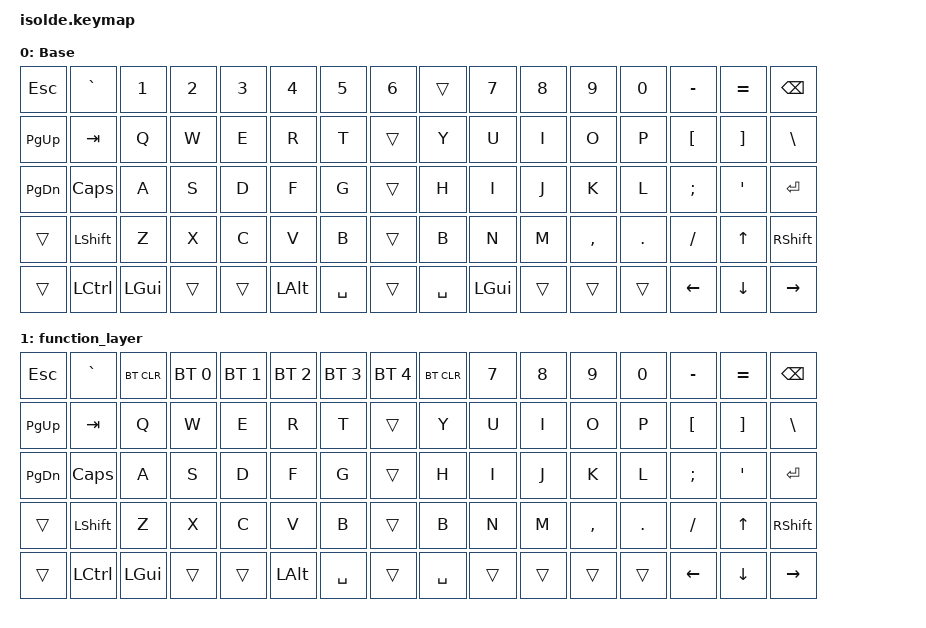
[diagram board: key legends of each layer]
// This file was generated from a template. Edit it to match your keyboard.
// See https://zmk.dev/docs/development/hardware-integration/new-shield for more instructions.

#include <behaviors.dtsi>
#include <dt-bindings/zmk/keys.h>
#include <dt-bindings/zmk/bt.h>

/ {
    // Define a default keymap here.
    // See https://zmk.dev/docs/development/hardware-integration/new-shield#default-keymap.
    keymap keymap {
                compatible = "zmk,keymap";

                default_layer {
// -----------------------------------------------------------------------------------------
// |  ECS |  ~  |  1  |  2  |  3  |  4  |  5  |  6  |        7  |  8  |  9  |  0  |  -  |  +  | BSPC | 
// | PG_UP| TAB |  Q  |  W  |  E  |  R  |  T  |     |  Y  |  U  |  I  |  O  |  P  |  [  |  ]  |   \  |
// | PG_DW| CAP |  A  |  S  |  D  |  F  |  G  |     |  H  |  I  |  J  |  K  |  L  |  ;  |  '  | ENTR |
// |      | SHFT|  Z  |  X  |  C  |  V  |  B  |     |  B  |  N  |  M  |  ,  |  .  |  /  |  UP | SHFT | 
//        | CTRL| WIN |     |     | ALT |SPACE|     |SPACE|  FN |     |     |     | LEFT| DOWN|RIGHT |      
                        display-name = "Base";
                        bindings = <
   &kp ESC   &kp GRAVE  &kp N1          &kp N2  &kp N3  &kp N4   &kp N5         &kp N6  &trans           &kp N7  &kp N8  &kp N9          &kp N0  &kp MINUS       &kp EQUAL       &kp BSPC 
   &kp PG_UP &kp TAB    &kp Q           &kp W   &kp E   &kp R    &kp T          &trans   &kp Y           &kp U   &kp I   &kp O           &kp P   &kp LBKT        &kp RBKT        &kp BSLH
   &kp PG_DN &kp CAPS   &kp A           &kp S   &kp D   &kp F    &kp G          &trans   &kp H           &kp I   &kp J   &kp K           &kp L   &kp SEMI        &kp SQT         &kp ENTER
   &trans     &kp LSHFT  &kp Z           &kp X   &kp C   &kp V    &kp B          &trans   &kp B           &kp N   &kp M   &kp COMMA       &kp DOT &kp SLASH       &kp UP          &kp RSHFT
   &trans     &kp LCTRL  &kp LGUI        &trans   &trans   &kp LALT &kp SPACE      &trans   &kp SPACE       &kp LGUI   &trans   &trans           &trans   &kp LEFT        &kp DOWN        &kp RIGHT
                        >;
                };
                function_layer {
                        bindings = <
   &kp ESC   &kp GRAVE  &bt BT_CLR         &bt BT_SEL 0  &bt BT_SEL 1  &bt BT_SEL 2   &bt BT_SEL 3         &bt BT_SEL 4  &bt BT_CLR           &kp N7  &kp N8  &kp N9          &kp N0  &kp MINUS       &kp EQUAL       &kp BSPC 
   &kp PG_UP &kp TAB    &kp Q           &kp W   &kp E   &kp R    &kp T          &trans   &kp Y           &kp U   &kp I   &kp O           &kp P   &kp LBKT        &kp RBKT        &kp BSLH
   &kp PG_DN &kp CAPS   &kp A           &kp S   &kp D   &kp F    &kp G          &trans   &kp H           &kp I   &kp J   &kp K           &kp L   &kp SEMI        &kp SQT         &kp ENTER
   &trans     &kp LSHFT  &kp Z           &kp X   &kp C   &kp V    &kp B          &trans   &kp B           &kp N   &kp M   &kp COMMA       &kp DOT &kp SLASH       &kp UP          &kp RSHFT
   &trans     &kp LCTRL  &kp LGUI        &trans   &trans   &kp LALT &kp SPACE      &trans   &kp SPACE       &trans   &trans   &trans           &trans   &kp LEFT        &kp DOWN        &kp RIGHT
                        >;
                };

        };
